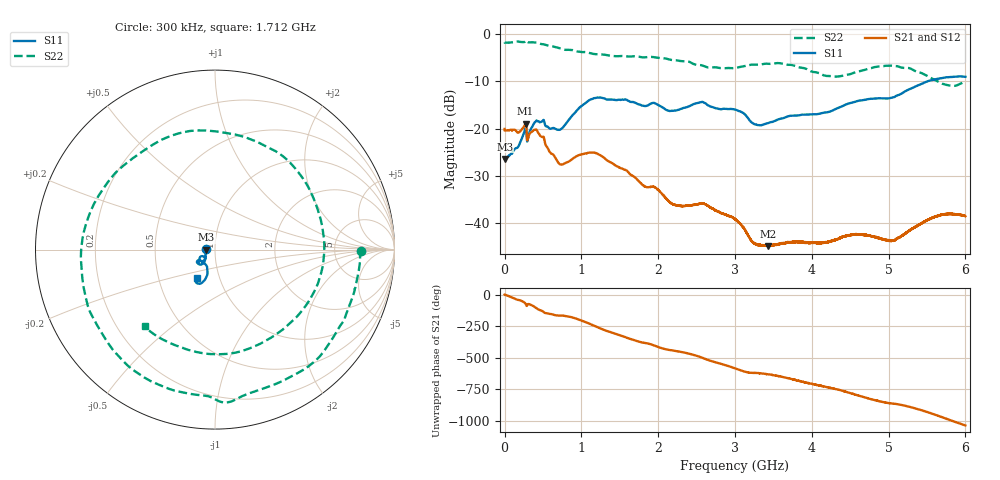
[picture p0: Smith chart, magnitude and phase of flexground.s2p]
!  8/6/2020  03:29:03
! Ref Plane: 0.000 mm
# MHZ S MA R  50
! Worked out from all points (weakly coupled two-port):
!   10001 points, 300 kHz to 6 GHz, reference 50 ohm
!   highest |S21| = -18.97 dB at 273.9 MHz (marker M1); lowest = -44.9 dB at 3.436 GHz (marker M2)
!   lowest |S11| = -26.4 dB at 2.1 MHz (marker M3), VSWR 1.10, Z = 45.4 + j0.0471 ohm
!   |S11| at or under -10 dB: start of sweep to 5.51 GHz
!   |S22| runs from -11.0 to -1.4 dB; largest |S21 - S12| = 0.0024
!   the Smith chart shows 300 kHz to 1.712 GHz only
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0.3  0.04777 178.9  0.09885 -1.1  0.09643 -1.0  0.8152 -0.4
2.0999  0.04776 179.4  0.09521 -0.5  0.09536 -0.6  0.8092 -0.8
273.8863  0.1017 -142.7  0.1126 -74.2  0.1127 -74.3  0.8371 -81.0
600.87  0.09942 -137.7  0.05477 -154.6  0.05492 -154.7  0.7465 -179.1
819.2591  0.1179 -111.5  0.04413 -173.1  0.04423 -173.2  0.6798 118.6
1000.45  0.1729 -108.0  0.05324 153.6  0.05329 153.6  0.6439 68.1
1251.237  0.2125 -119.5  0.05178 90.2  0.05187 90.2  0.608 -4.6
1526.024  0.202 -120.9  0.03778 32.3  0.03777 32.3  0.5854 -82.3
1776.811  0.1768 -120.0  0.02628 -17.8  0.02628 -17.8  0.5684 -149.5
2000.6  0.1773 -117.2  0.0224 -55.9  0.02244 -56.1  0.5582 153.1
2265.187  0.1578 -101.8  0.01527 -91.0  0.01531 -91.2  0.5219 85.7
2548.973  0.1894 -97.2  0.01607 -134.6  0.01608 -134.7  0.4691 8.2
2785.361  0.1613 -95.8  0.01315 176.7  0.01319 176.7  0.439 -62.8
3000.15  0.1588 -92.0  0.01096 134.8  0.011 135.2  0.4365 -127.9
3436.328  0.1144 -61.3  0.00569 88.1  0.005724 87.8  0.4834 118.5
4000.3  0.1412 -35.7  0.006189 12.8  0.00625 12.8  0.3992 -22.7
4245.688  0.152 -21.5  0.006417 -19.8  0.006382 -19.2  0.3583 -99.0
4515.674  0.187 -13.1  0.007477 -63.5  0.007519 -63.6  0.3797 175.7
5000.45  0.2083 -3.2  0.00655 -139.5  0.006487 -139.6  0.4603 54.7
5267.437  0.2598 8.8  0.008289 -168.8  0.008275 -169.1  0.4357 -5.0
5535.023  0.3211 7.6  0.011 143.0  0.01106 142.8  0.3483 -73.8
6000  0.3523 -3.5  0.01179 43.1  0.01186 43.2  0.3161 130.0
